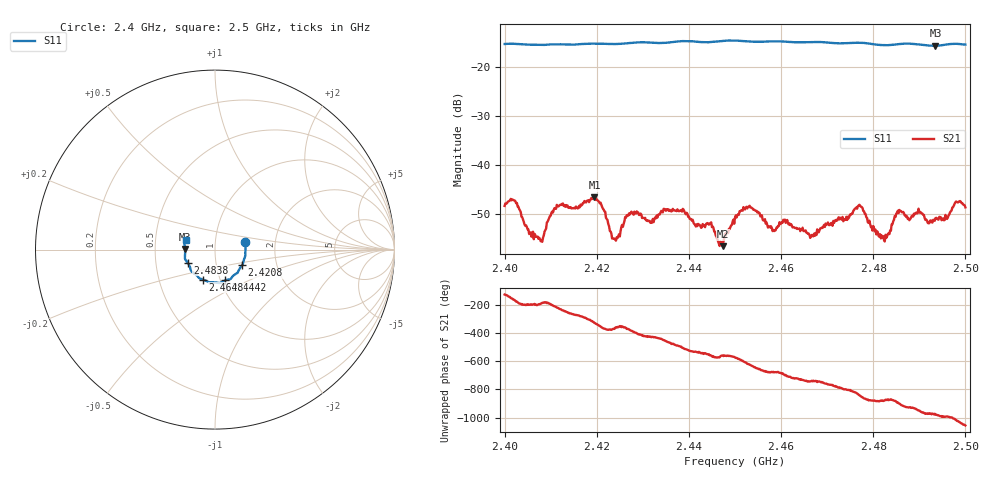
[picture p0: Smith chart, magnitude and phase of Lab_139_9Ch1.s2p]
# Hz S RI R 50
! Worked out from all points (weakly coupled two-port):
!   601 points, 2.4 GHz to 2.5 GHz, reference 50 ohm
!   highest |S21| = -46.68 dB at 2.4195 GHz (marker M1); lowest = -56.7 dB at 2.4473 GHz (marker M2)
!   lowest |S11| = -15.6 dB at 2.4935 GHz (marker M3), VSWR 1.40, Z = 35.8 + j0.21 ohm
!   |S11| at or under -10 dB: start of sweep to end of sweep
!   S12 and S22 are empty: the file has one direction only
!   S11 on the Smith chart (normalised r, x): 2.4 GHz: 1.40, +0.12; 2.4208 GHz: 1.33, -0.24; 2.4442 GHz: 1.05, -0.37; 2.4648 GHz: 0.83, -0.29; 2.4838 GHz: 0.73, -0.11; 2.5 GHz: 0.72, +0.08
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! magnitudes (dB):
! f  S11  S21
! 2.4 GHz  -15.2  -48.4
! 2.4022 GHz  -15.2  -47.3
! 2.4078 GHz  -15.4  -55.7
! 2.4112 GHz  -15.3  -49.0
! 2.4167 GHz  -15.2  -48.3
! 2.4195 GHz  -15.2  -46.7
! 2.4208 GHz  -15.2  -47.8
! 2.4238 GHz  -15.2  -55.1
! 2.4272 GHz  -15.0  -50.2
! 2.4333 GHz  -15.0  -50.2
! 2.4442 GHz  -14.9  -52.0
! 2.4473 GHz  -14.6  -56.7
! 2.45 GHz  -14.5  -50.8
! 2.4533 GHz  -14.7  -48.7
! 2.4648 GHz  -14.9  -53.5
! 2.4667 GHz  -14.8  -54.4
! 2.4772 GHz  -15.0  -48.4
! 2.4833 GHz  -15.5  -54.0
! 2.4838 GHz  -15.4  -53.5
! 2.4857 GHz  -15.2  -49.2
! 2.4935 GHz  -15.6  -50.9
! 2.5 GHz  -15.4  -48.7
